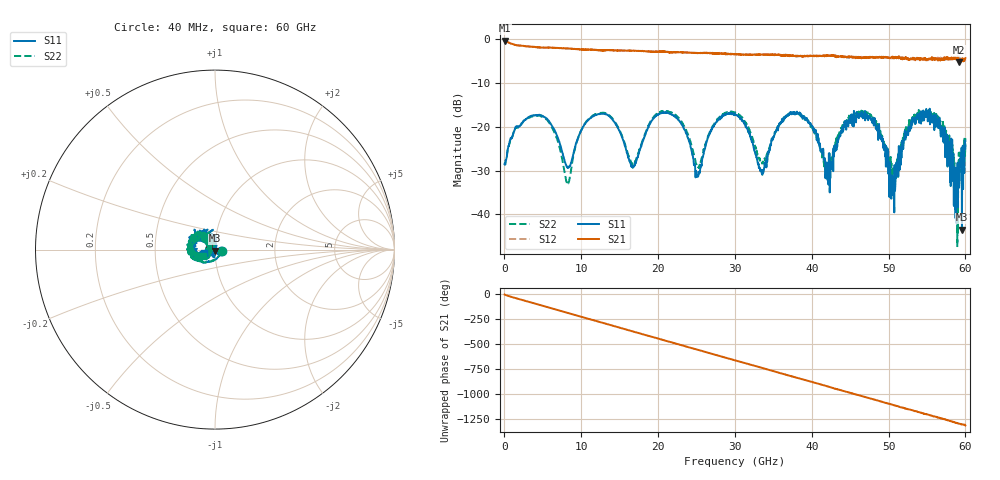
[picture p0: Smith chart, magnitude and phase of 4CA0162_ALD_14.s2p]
! File created by 'SoftPlot +Plus+ Measurement Management Software'
! SoftPlot +Plus+ Measurement Management Software
! Start 40.000000 MHz  Stop 60.000000 GHz  Points 1601
# MHZ S RI R 50
! S-Parameter data, F S11 S21 S12 S22
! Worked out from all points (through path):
!   1601 points, 40 MHz to 60 GHz, reference 50 ohm
!   highest |S21| = -0.38 dB at 77.47 MHz (marker M1); lowest = -5.3 dB at 59.21 GHz (marker M2)
!   group delay of S21, straight-line fit = 60.6 ps
!   lowest |S11| = -43.5 dB at 59.55 GHz (marker M3), VSWR 1.01, Z = 49.8 - j0.637 ohm
!   |S11| at or under -10 dB: start of sweep to end of sweep
!   |S22| runs from -47.2 to -16.0 dB; largest |S21 - S12| = 0.089
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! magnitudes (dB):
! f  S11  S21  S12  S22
! 40 MHz  -28.6  -0.4  -0.4  -28.5
! 77.47 MHz  -28.2  -0.4  -0.4  -28.3
! 4.724 GHz  -17.4  -1.9  -2.0  -17.6
! 8.284 GHz  -29.3  -2.2  -2.2  -32.9
! 10.05 GHz  -20.8  -2.5  -2.4  -20.7
! 13.49 GHz  -17.4  -2.6  -2.5  -17.2
! 16.75 GHz  -29.2  -2.7  -2.7  -28.6
! 20.05 GHz  -17.2  -2.9  -2.9  -16.8
! 25.15 GHz  -31.3  -3.2  -3.2  -29.0
! 30.02 GHz  -17.2  -3.4  -3.4  -16.7
! 33.51 GHz  -30.6  -3.6  -3.5  -28.0
! 36.65 GHz  -17.8  -3.7  -3.8  -17.6
! 40.03 GHz  -19.8  -3.9  -3.9  -19.9
! 42.12 GHz  -30.4  -3.8  -3.8  -29.9
! 47.3 GHz  -17.8  -4.2  -4.2  -17.0
! 50.03 GHz  -29.1  -4.3  -4.3  -27.9
! 50.59 GHz  -32.1  -4.4  -4.3  -30.5
! 52.32 GHz  -21.2  -4.5  -4.5  -21.2
! 55.09 GHz  -18.7  -4.7  -4.9  -16.7
! 59.21 GHz  -32.7  -5.3  -4.0  -30.5
! 59.55 GHz  -43.5  -5.1  -4.7  -27.5
! 60 GHz  -24.1  -4.4  -4.8  -22.6
